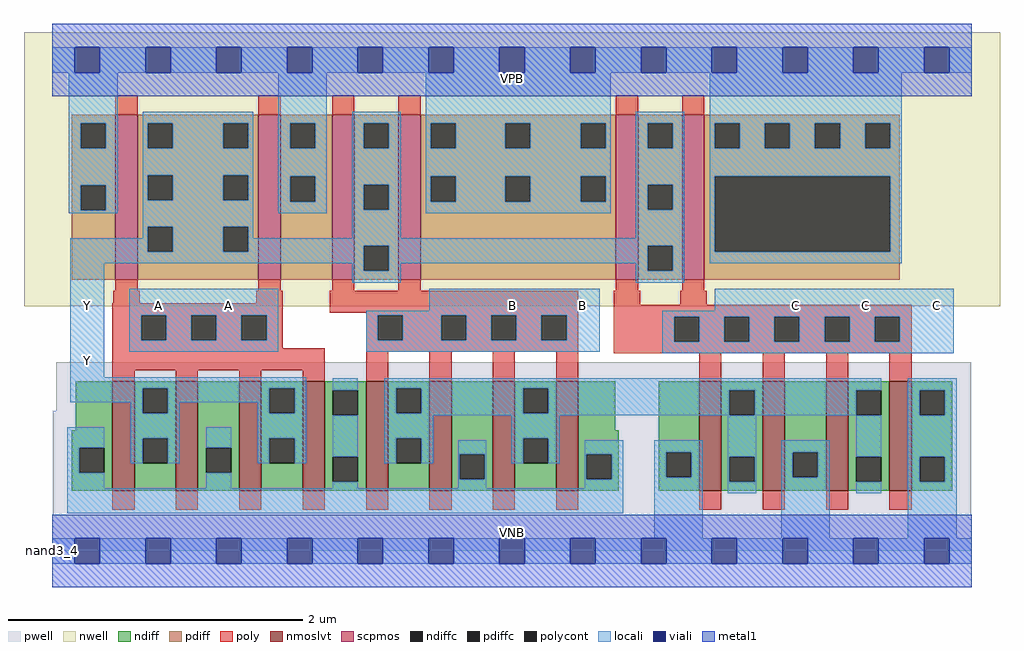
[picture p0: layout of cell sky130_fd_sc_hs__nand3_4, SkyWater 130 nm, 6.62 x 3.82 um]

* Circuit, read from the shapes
.subckt sky130_fd_sc_hs__nand3_4 A B C VGND VNB VPB VPWR Y
XM1 Y A n1 VNB sky130_fd_pr__nfet_01v8_lvt w=0.74 l=0.15 m=4
XM2 n2 B n1 VNB sky130_fd_pr__nfet_01v8_lvt w=0.74 l=0.15 m=4
XM3 n2 C VGND VNB sky130_fd_pr__nfet_01v8_lvt w=0.74 l=0.15 m=4
XM4 Y A VPWR VPB sky130_fd_pr__pfet_01v8 w=1.12 l=0.15 m=2
XM5 Y B VPWR VPB sky130_fd_pr__pfet_01v8 w=1.12 l=0.15 m=2
XM6 Y C VPWR VPB sky130_fd_pr__pfet_01v8 w=1.12 l=0.15 m=2
.ends

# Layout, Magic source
magic
tech sky130A
magscale 1 2
<< nwell >>
rect -38 332 1286 704
<< pwell >>
rect 6 190 1247 256
rect 1 49 1247 190
rect 0 0 1248 49
<< scpmos >>
rect 86 368 116 592
rect 280 368 310 592
rect 380 368 410 592
rect 470 368 500 592
rect 765 368 795 592
rect 855 368 885 592
<< nmoslvt >>
rect 82 82 112 230
rect 168 82 198 230
rect 254 82 284 230
rect 340 82 370 230
rect 426 82 456 230
rect 512 82 542 230
rect 598 82 628 230
rect 684 82 714 230
rect 878 82 908 230
rect 964 82 994 230
rect 1050 82 1080 230
rect 1136 82 1166 230
<< ndiff >>
rect 32 164 82 230
rect 27 140 82 164
rect 27 106 37 140
rect 71 106 82 140
rect 27 82 82 106
rect 112 221 168 230
rect 112 187 123 221
rect 157 187 168 221
rect 112 153 168 187
rect 112 119 123 153
rect 157 119 168 153
rect 112 82 168 119
rect 198 140 254 230
rect 198 106 209 140
rect 243 106 254 140
rect 198 82 254 106
rect 284 221 340 230
rect 284 187 295 221
rect 329 187 340 221
rect 284 153 340 187
rect 284 119 295 153
rect 329 119 340 153
rect 284 82 340 119
rect 370 218 426 230
rect 370 184 381 218
rect 415 184 426 218
rect 370 128 426 184
rect 370 94 381 128
rect 415 94 426 128
rect 370 82 426 94
rect 456 221 512 230
rect 456 187 467 221
rect 501 187 512 221
rect 456 153 512 187
rect 456 119 467 153
rect 501 119 512 153
rect 456 82 512 119
rect 542 131 598 230
rect 542 97 553 131
rect 587 97 598 131
rect 542 82 598 97
rect 628 221 684 230
rect 628 187 639 221
rect 673 187 684 221
rect 628 153 684 187
rect 628 119 639 153
rect 673 119 684 153
rect 628 82 684 119
rect 714 164 764 230
rect 714 131 769 164
rect 714 97 725 131
rect 759 97 769 131
rect 714 82 769 97
rect 823 134 878 230
rect 823 100 833 134
rect 867 100 878 134
rect 823 82 878 100
rect 908 218 964 230
rect 908 184 919 218
rect 953 184 964 218
rect 908 128 964 184
rect 908 94 919 128
rect 953 94 964 128
rect 908 82 964 94
rect 994 134 1050 230
rect 994 100 1005 134
rect 1039 100 1050 134
rect 994 82 1050 100
rect 1080 218 1136 230
rect 1080 184 1091 218
rect 1125 184 1136 218
rect 1080 128 1136 184
rect 1080 94 1091 128
rect 1125 94 1136 128
rect 1080 82 1136 94
rect 1166 218 1221 230
rect 1166 184 1177 218
rect 1211 184 1221 218
rect 1166 128 1221 184
rect 1166 94 1177 128
rect 1211 94 1221 128
rect 1166 82 1221 94
<< pdiff >>
rect 27 580 86 592
rect 27 546 39 580
rect 73 546 86 580
rect 27 496 86 546
rect 27 462 39 496
rect 73 462 86 496
rect 27 368 86 462
rect 116 580 280 592
rect 116 546 130 580
rect 164 546 232 580
rect 266 546 280 580
rect 116 510 280 546
rect 116 476 130 510
rect 164 476 232 510
rect 266 476 280 510
rect 116 440 280 476
rect 116 406 130 440
rect 164 406 232 440
rect 266 406 280 440
rect 116 368 280 406
rect 310 580 380 592
rect 310 546 323 580
rect 357 546 380 580
rect 310 508 380 546
rect 310 474 323 508
rect 357 474 380 508
rect 310 368 380 474
rect 410 580 470 592
rect 410 546 423 580
rect 457 546 470 580
rect 410 497 470 546
rect 410 463 423 497
rect 457 463 470 497
rect 410 414 470 463
rect 410 380 423 414
rect 457 380 470 414
rect 410 368 470 380
rect 500 580 765 592
rect 500 546 514 580
rect 548 546 615 580
rect 649 546 717 580
rect 751 546 765 580
rect 500 508 765 546
rect 500 474 514 508
rect 548 474 615 508
rect 649 474 717 508
rect 751 474 765 508
rect 500 368 765 474
rect 795 580 855 592
rect 795 546 808 580
rect 842 546 855 580
rect 795 497 855 546
rect 795 463 808 497
rect 842 463 855 497
rect 795 414 855 463
rect 795 380 808 414
rect 842 380 855 414
rect 795 368 855 380
rect 885 580 1150 592
rect 885 546 899 580
rect 933 546 967 580
rect 1001 546 1035 580
rect 1069 546 1103 580
rect 1137 546 1150 580
rect 885 508 1150 546
rect 885 406 899 508
rect 1137 406 1150 508
rect 885 368 1150 406
<< ndiffc >>
rect 37 106 71 140
rect 123 187 157 221
rect 123 119 157 153
rect 209 106 243 140
rect 295 187 329 221
rect 295 119 329 153
rect 381 184 415 218
rect 381 94 415 128
rect 467 187 501 221
rect 467 119 501 153
rect 553 97 587 131
rect 639 187 673 221
rect 639 119 673 153
rect 725 97 759 131
rect 833 100 867 134
rect 919 184 953 218
rect 919 94 953 128
rect 1005 100 1039 134
rect 1091 184 1125 218
rect 1091 94 1125 128
rect 1177 184 1211 218
rect 1177 94 1211 128
<< pdiffc >>
rect 39 546 73 580
rect 39 462 73 496
rect 130 546 164 580
rect 232 546 266 580
rect 130 476 164 510
rect 232 476 266 510
rect 130 406 164 440
rect 232 406 266 440
rect 323 546 357 580
rect 323 474 357 508
rect 423 546 457 580
rect 423 463 457 497
rect 423 380 457 414
rect 514 546 548 580
rect 615 546 649 580
rect 717 546 751 580
rect 514 474 548 508
rect 615 474 649 508
rect 717 474 751 508
rect 808 546 842 580
rect 808 463 842 497
rect 808 380 842 414
rect 899 546 933 580
rect 967 546 1001 580
rect 1035 546 1069 580
rect 1103 546 1137 580
rect 899 406 1137 508
<< poly >>
rect 86 592 116 618
rect 280 592 310 618
rect 380 592 410 618
rect 470 592 500 618
rect 765 592 795 618
rect 855 592 885 618
rect 86 353 116 368
rect 280 353 310 368
rect 380 353 410 368
rect 470 353 500 368
rect 765 353 795 368
rect 855 353 885 368
rect 83 336 119 353
rect 277 336 313 353
rect 82 320 313 336
rect 377 323 714 353
rect 82 286 121 320
rect 155 286 189 320
rect 223 286 257 320
rect 291 286 313 320
rect 82 275 313 286
rect 426 320 714 323
rect 426 286 442 320
rect 476 286 528 320
rect 562 286 596 320
rect 630 286 664 320
rect 698 286 714 320
rect 82 245 370 275
rect 82 230 112 245
rect 168 230 198 245
rect 254 230 284 245
rect 340 230 370 245
rect 426 270 714 286
rect 426 230 456 270
rect 512 230 542 270
rect 598 230 628 270
rect 684 230 714 270
rect 762 334 798 353
rect 852 334 888 353
rect 762 318 1166 334
rect 762 284 844 318
rect 878 284 912 318
rect 946 284 980 318
rect 1014 284 1048 318
rect 1082 284 1116 318
rect 1150 284 1166 318
rect 762 268 1166 284
rect 878 230 908 268
rect 964 230 994 268
rect 1050 230 1080 268
rect 1136 230 1166 268
rect 82 56 112 82
rect 168 56 198 82
rect 254 56 284 82
rect 340 56 370 82
rect 426 56 456 82
rect 512 56 542 82
rect 598 56 628 82
rect 684 56 714 82
rect 878 56 908 82
rect 964 56 994 82
rect 1050 56 1080 82
rect 1136 56 1166 82
<< polycont >>
rect 121 286 155 320
rect 189 286 223 320
rect 257 286 291 320
rect 442 286 476 320
rect 528 286 562 320
rect 596 286 630 320
rect 664 286 698 320
rect 844 284 878 318
rect 912 284 946 318
rect 980 284 1014 318
rect 1048 284 1082 318
rect 1116 284 1150 318
<< locali >>
rect 0 649 31 683
rect 65 649 127 683
rect 161 649 223 683
rect 257 649 319 683
rect 353 649 415 683
rect 449 649 511 683
rect 545 649 607 683
rect 641 649 703 683
rect 737 649 799 683
rect 833 649 895 683
rect 929 649 991 683
rect 1025 649 1087 683
rect 1121 649 1183 683
rect 1217 649 1248 683
rect 23 580 89 649
rect 23 546 39 580
rect 73 546 89 580
rect 23 496 89 546
rect 23 462 39 496
rect 73 462 89 496
rect 23 458 89 462
rect 123 580 273 596
rect 123 546 130 580
rect 164 546 232 580
rect 266 546 273 580
rect 123 510 273 546
rect 123 476 130 510
rect 164 476 232 510
rect 266 476 273 510
rect 123 440 273 476
rect 307 580 373 649
rect 307 546 323 580
rect 357 546 373 580
rect 307 508 373 546
rect 307 474 323 508
rect 357 474 373 508
rect 307 458 373 474
rect 407 580 473 596
rect 407 546 423 580
rect 457 546 473 580
rect 407 497 473 546
rect 407 463 423 497
rect 457 463 473 497
rect 123 424 130 440
rect 25 406 130 424
rect 164 406 232 440
rect 266 424 273 440
rect 407 424 473 463
rect 507 580 758 649
rect 507 546 514 580
rect 548 546 615 580
rect 649 546 717 580
rect 751 546 758 580
rect 507 508 758 546
rect 507 474 514 508
rect 548 474 615 508
rect 649 474 717 508
rect 751 474 758 508
rect 507 458 758 474
rect 792 580 858 596
rect 792 546 808 580
rect 842 546 858 580
rect 792 497 858 546
rect 792 463 808 497
rect 842 463 858 497
rect 792 424 858 463
rect 266 414 858 424
rect 266 406 423 414
rect 25 390 423 406
rect 25 236 71 390
rect 407 380 423 390
rect 457 390 808 414
rect 457 380 473 390
rect 407 364 473 380
rect 792 380 808 390
rect 842 380 858 414
rect 892 580 1153 649
rect 892 546 899 580
rect 933 546 967 580
rect 1001 546 1035 580
rect 1069 546 1103 580
rect 1137 546 1153 580
rect 892 508 1153 546
rect 892 406 899 508
rect 1137 406 1153 508
rect 892 390 1153 406
rect 792 364 858 380
rect 105 320 307 356
rect 512 326 743 356
rect 899 326 1223 356
rect 105 286 121 320
rect 155 286 189 320
rect 223 286 257 320
rect 291 286 307 320
rect 105 270 307 286
rect 426 320 743 326
rect 426 286 442 320
rect 476 286 528 320
rect 562 286 596 320
rect 630 286 664 320
rect 698 286 743 320
rect 426 270 743 286
rect 828 318 1223 326
rect 828 284 844 318
rect 878 284 912 318
rect 946 284 980 318
rect 1014 284 1048 318
rect 1082 284 1116 318
rect 1150 284 1223 318
rect 828 268 1223 284
rect 25 221 345 236
rect 25 202 123 221
rect 107 187 123 202
rect 157 202 295 221
rect 157 187 173 202
rect 21 140 71 168
rect 21 106 37 140
rect 107 153 173 187
rect 279 187 295 202
rect 329 187 345 221
rect 107 119 123 153
rect 157 119 173 153
rect 209 140 243 168
rect 21 85 71 106
rect 279 153 345 187
rect 279 119 295 153
rect 329 119 345 153
rect 381 218 415 234
rect 381 128 415 184
rect 209 85 243 106
rect 451 221 1125 234
rect 451 187 467 221
rect 501 187 639 221
rect 673 218 1125 221
rect 673 187 919 218
rect 451 184 919 187
rect 953 184 1091 218
rect 451 153 517 184
rect 451 119 467 153
rect 501 119 517 153
rect 623 153 689 184
rect 551 131 589 150
rect 381 85 415 94
rect 551 97 553 131
rect 587 97 589 131
rect 623 119 639 153
rect 673 119 689 153
rect 723 131 775 150
rect 551 85 589 97
rect 723 97 725 131
rect 759 97 775 131
rect 723 85 775 97
rect 21 51 775 85
rect 817 134 883 150
rect 817 100 833 134
rect 867 100 883 134
rect 817 17 883 100
rect 917 128 955 184
rect 917 94 919 128
rect 953 94 955 128
rect 917 78 955 94
rect 989 134 1055 150
rect 989 100 1005 134
rect 1039 100 1055 134
rect 989 17 1055 100
rect 1091 128 1125 184
rect 1091 78 1125 94
rect 1161 218 1227 234
rect 1161 184 1177 218
rect 1211 184 1227 218
rect 1161 128 1227 184
rect 1161 94 1177 128
rect 1211 94 1227 128
rect 1161 17 1227 94
rect 0 -17 31 17
rect 65 -17 127 17
rect 161 -17 223 17
rect 257 -17 319 17
rect 353 -17 415 17
rect 449 -17 511 17
rect 545 -17 607 17
rect 641 -17 703 17
rect 737 -17 799 17
rect 833 -17 895 17
rect 929 -17 991 17
rect 1025 -17 1087 17
rect 1121 -17 1183 17
rect 1217 -17 1248 17
<< viali >>
rect 31 649 65 683
rect 127 649 161 683
rect 223 649 257 683
rect 319 649 353 683
rect 415 649 449 683
rect 511 649 545 683
rect 607 649 641 683
rect 703 649 737 683
rect 799 649 833 683
rect 895 649 929 683
rect 991 649 1025 683
rect 1087 649 1121 683
rect 1183 649 1217 683
rect 31 -17 65 17
rect 127 -17 161 17
rect 223 -17 257 17
rect 319 -17 353 17
rect 415 -17 449 17
rect 511 -17 545 17
rect 607 -17 641 17
rect 703 -17 737 17
rect 799 -17 833 17
rect 895 -17 929 17
rect 991 -17 1025 17
rect 1087 -17 1121 17
rect 1183 -17 1217 17
<< metal1 >>
rect 0 683 1248 715
rect 0 649 31 683
rect 65 649 127 683
rect 161 649 223 683
rect 257 649 319 683
rect 353 649 415 683
rect 449 649 511 683
rect 545 649 607 683
rect 641 649 703 683
rect 737 649 799 683
rect 833 649 895 683
rect 929 649 991 683
rect 1025 649 1087 683
rect 1121 649 1183 683
rect 1217 649 1248 683
rect 0 617 1248 649
rect 0 17 1248 49
rect 0 -17 31 17
rect 65 -17 127 17
rect 161 -17 223 17
rect 257 -17 319 17
rect 353 -17 415 17
rect 449 -17 511 17
rect 545 -17 607 17
rect 641 -17 703 17
rect 737 -17 799 17
rect 833 -17 895 17
rect 929 -17 991 17
rect 1025 -17 1087 17
rect 1121 -17 1183 17
rect 1217 -17 1248 17
rect 0 -49 1248 -17
<< labels >>
rlabel comment s 0 0 0 0 4 nand3_4
flabel pwell s 0 0 1248 49 0 FreeSans 200 0 0 0 VNB
port 5 nsew ground bidirectional
flabel nwell s 0 617 1248 666 0 FreeSans 200 0 0 0 VPB
port 6 nsew power bidirectional
flabel metal1 s 0 617 1248 666 0 FreeSans 340 0 0 0 VPWR
port 7 nsew power bidirectional
flabel metal1 s 0 0 1248 49 0 FreeSans 340 0 0 0 VGND
port 4 nsew ground bidirectional
flabel locali s 991 316 1025 350 0 FreeSans 340 0 0 0 C
port 3 nsew signal input
flabel locali s 1087 316 1121 350 0 FreeSans 340 0 0 0 C
port 3 nsew signal input
flabel locali s 1183 316 1217 350 0 FreeSans 340 0 0 0 C
port 3 nsew signal input
flabel locali s 607 316 641 350 0 FreeSans 340 0 0 0 B
port 2 nsew signal input
flabel locali s 703 316 737 350 0 FreeSans 340 0 0 0 B
port 2 nsew signal input
flabel locali s 127 316 161 350 0 FreeSans 340 0 0 0 A
port 1 nsew signal input
flabel locali s 223 316 257 350 0 FreeSans 340 0 0 0 A
port 1 nsew signal input
flabel locali s 31 242 65 276 0 FreeSans 340 0 0 0 Y
port 8 nsew signal output
flabel locali s 31 316 65 350 0 FreeSans 340 0 0 0 Y
port 8 nsew signal output
<< properties >>
string LEFsite unit
string LEFclass CORE
string FIXED_BBOX 0 0 1248 666
string GDS_FILE $PDKPATH/libs.ref/sky130_fd_sc_hs/gds/sky130_fd_sc_hs.gds
string LEFsymmetry X Y
string GDS_END 316874
string GDS_START 306174
<< end >>
